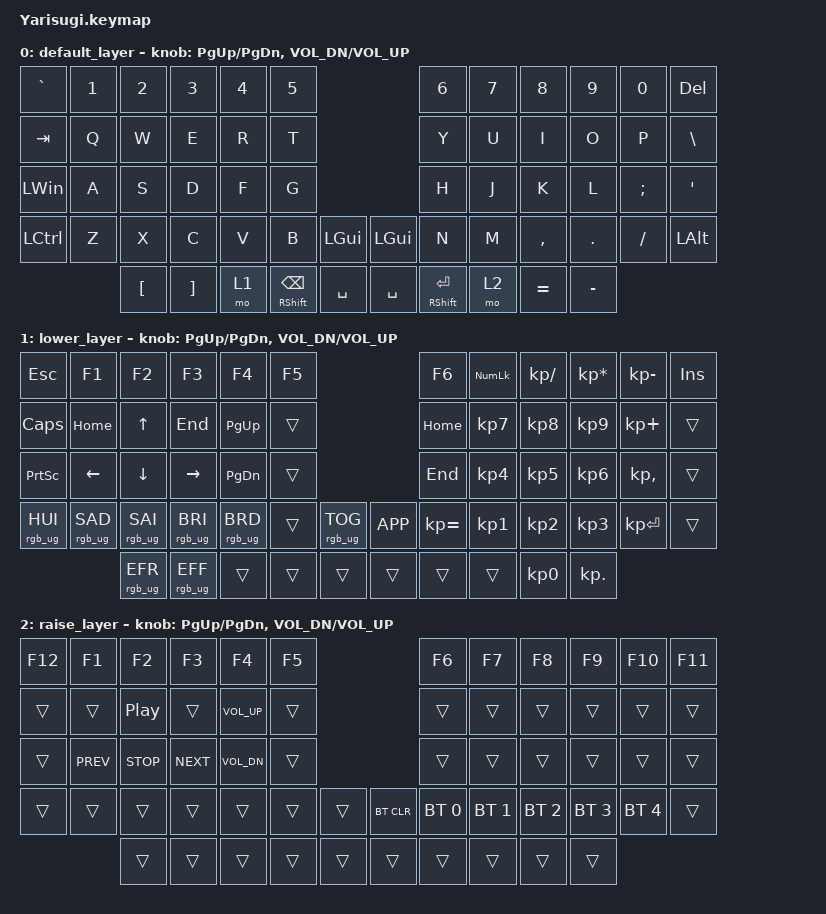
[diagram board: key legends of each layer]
/*
 * Copyright (c) 2020 The ZMK Contributors
 *
 * SPDX-License-Identifier: MIT
 */

#include <behaviors.dtsi>
#include <dt-bindings/zmk/keys.h>
#include <dt-bindings/zmk/bt.h>
#include <dt-bindings/zmk/rgb.h>

&led_strip {
    chain-length = <29>;
};

/ {
    behaviors {
        rgb_encoder: rgb_encoder {
            compatible = "zmk,behavior-sensor-rotate";
            label = "RGB_ENCODER";
            #sensor-binding-cells = <0>;
            bindings = <&rgb_ug RGB_BRI>, <&rgb_ug RGB_BRD>;
        };
    };

    keymap {
        compatible = "zmk,keymap";

        default_layer {
// ------------------------------------------------------------------------------------------------------------
// |  `    |  1  |  2  |  3   |  4   |  5   |                   |  6   |  7    |  8    |  9   |   0   |  DEL  |
// |  TAB  |  Q  |  W  |  E   |  R   |  T   |                   |  Y   |  U    |  I    |  O   |   P   |   \   |
// | LWIN  |  A  |  S  |  D   |  F   |  G   |                   |  H   |  J    |  K    |  L   |   ;   |   '   |
// | CTRL  |  Z  |  X  |  C   |  V   |  B   |  GUI   |  |  GUI  |  N   |  M    |  ,    |  .   |   /   |  LALT  |
//               |  [  |  ]   | LOWER| BKSPC/SHIFT | SPACE |  | SPACE | ENTER/SHIFT | RAISE |  =    |  -   |
            bindings = <
&kp GRAVE &kp N1 &kp N2   &kp N3   &kp N4    &kp N5                      &kp N6 &kp N7    &kp N8    &kp N9   &kp N0   &kp DEL
&kp TAB   &kp Q  &kp W    &kp E    &kp R     &kp T                       &kp Y  &kp U     &kp I     &kp O    &kp P    &kp BSLH
&kp LWIN &kp A  &kp S    &kp D    &kp F     &kp G                       &kp H  &kp J     &kp K     &kp L    &kp SEMI &kp SQT
&kp LCTRL &kp Z  &kp X    &kp C    &kp V     &kp B  &kp LGUI      &kp LGUI  &kp N  &kp M     &kp COMMA &kp DOT  &kp FSLH &kp LALT
                 &kp LBKT &kp RBKT &mo 1     &mt RSHFT BSPC &kp SPACE &kp SPACE &mt RSHFT RET  &mo 2 &kp EQUAL  &kp MINUS
            >;

            sensor-bindings = <&inc_dec_kp PG_UP PG_DN &inc_dec_kp C_VOL_DN C_VOL_UP>;
        };

        lower_layer {
// TODO: Some binds are waiting for shifted keycode support.
// ------------------------------------------------------------------------------------------------------------
// |  ESC  |  F1 |  F2 |  F3  |  F4  |  F5  |                   |  F6  | NUMLCK|   /   |   *  |   -   |   INS |
// | CAPS  |HOME |  UP |  END | PGUP |      |                   | HOME |  7    |   8   |   9  |   +   |       |
// | PSCRN |LEFT | DOWN| RIGHT| PGDN |      |                   | END  |  4    |   5   |   6  |   ,   |       |
// | RGBHUI|RGBSD|RGBSAI|RGBBRI|RGBBD|RGBTOG|        |  | MENU  |  =   |  1    |   2   |   3  | ENTER |       |
//               |RGBEFF|RGBEFR|     |      |        |  |       |      |       |   0   |   .  |
            bindings = <
&kp ESC   &kp F1   &kp F2    &kp F3      &kp F4    &kp F5                       &kp F6       &kp KP_NLCK &kp KP_SLASH &kp KP_MULTIPLY   &kp KP_MINUS  &kp INS 
&kp CAPS &kp HOME &kp UP    &kp END   &kp PG_UP   &trans                       &kp HOME     &kp KP_N7 &kp KP_N8    &kp KP_N9         &kp KP_PLUS   &trans
&kp PSCRN &kp LEFT &kp DOWN  &kp RIGHT &kp PG_DN   &trans                       &kp END      &kp KP_N4 &kp KP_N5    &kp KP_N6         &kp KP_COMMA  &trans
&rgb_ug RGB_HUI    &rgb_ug RGB_SAD    &rgb_ug RGB_SAI   &rgb_ug RGB_BRI    &rgb_ug RGB_BRD   &trans   &rgb_ug RGB_TOG     &kp K_APP &kp KP_EQUAL &kp KP_N1 &kp KP_N2    &kp KP_N3         &kp KP_ENTER  &trans
                   &rgb_ug RGB_EFR    &rgb_ug RGB_EFF      &trans    &trans    &trans   &trans    &trans       &trans    &kp KP_N0    &kp KP_DOT 
            >;
//I'd like to set up encoders to control RGB brightness but for now that only seems to control the left side only
            sensor-bindings = <&inc_dec_kp PG_UP PG_DN &inc_dec_kp C_VOL_DN C_VOL_UP>;
        };

        raise_layer {
// ------------------------------------------------------------------------------------------------------------
// | F12 | F1   | F2   |  F3   |  F4   |  F5  |                |  F6  |  F7  |  F8   |  F9  |  F10  |  F11  |
// |     |      | PLAY |       |VOL_UP |      |                |SCRLUP| LCLK |  MUP  | RCLK |       |       |
// |     |PREV  | STOP | NEXT  |VOL_DN |      |                |SCRLDN| MLFT |  MDN  | MRGT |       |       |
// |     |      |      |       |       |      |      |  |BT_CLR|BT_SEL|BT_SEL|BT_SEL |BT_SEL|BT_SEL |       |
//              |      |       |       |      |      |  |      |      |      |       |      |
            bindings = <
&kp F12    &kp F1       &kp F2       &kp F3       &kp F4       &kp F5                  &kp F6    &kp F7    &kp F8   &kp F9    &kp F10  &kp F11
&trans     &trans       &kp C_PP     &trans       &kp C_VOL_UP &trans                  &trans   &trans      &trans    &trans       &trans   &trans
&trans     &kp C_PREV   &kp C_STOP   &kp C_NEXT   &kp C_VOL_DN &trans                  &trans &trans &trans  &trans &trans   &trans
&trans     &trans       &trans       &trans       &trans       &trans  &trans   &bt BT_CLR &bt BT_SEL 0 &bt BT_SEL 1 &bt BT_SEL 2 &bt BT_SEL 3 &bt BT_SEL 4 &trans
                        &trans       &trans       &trans       &trans  &trans   &trans  &trans    &trans    &trans   &trans
            >;

            sensor-bindings = <&inc_dec_kp PG_UP PG_DN &inc_dec_kp C_VOL_DN C_VOL_UP>;
        };
    };
};
